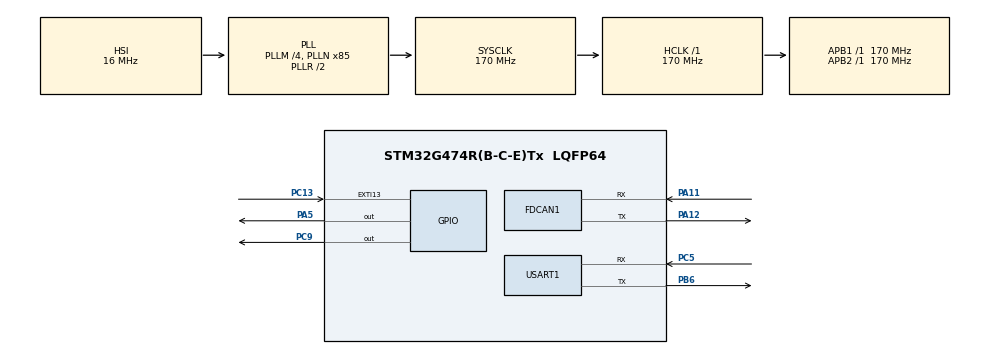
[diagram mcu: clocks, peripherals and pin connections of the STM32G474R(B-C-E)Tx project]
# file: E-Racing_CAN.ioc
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FDCAN1.CalculateBaudRateNominal=500000
FDCAN1.CalculateTimeBitNominal=2000
FDCAN1.CalculateTimeQuantumNominal=400.0
FDCAN1.NominalPrescaler=68
FDCAN1.NominalTimeSeg1=2
FDCAN1.NominalTimeSeg2=2
Mcu.Family=STM32G4
Mcu.Name=STM32G474R(B-C-E)Tx
Mcu.Package=LQFP64
NUCLEO-G474RE.BUTTON=1
NUCLEO-G474RE.LD2=true
NUCLEO-G474RE.VCP=true
NVIC.EXTI15_10_IRQn=true\:0\:0\:false\:false\:true\:true\:true\:true
NVIC.FDCAN1_IT0_IRQn=true\:0\:0\:false\:false\:true\:true\:true\:true
NVIC.FDCAN1_IT1_IRQn=true\:0\:0\:false\:false\:true\:true\:true\:true
NVIC.PriorityGroup=NVIC_PRIORITYGROUP_4
NVIC.TIM3_IRQn=true\:0\:0\:false\:false\:true\:true\:true\:true
PA11.GPIO_PuPd=GPIO_PULLUP
PA11.GPIO_Speed=GPIO_SPEED_FREQ_VERY_HIGH
PA11.Mode=FDCAN_Activate
PA11.Signal=FDCAN1_RX
PA12.Mode=FDCAN_Activate
PA12.Signal=FDCAN1_TX
PA13.GPIO_Label=T_SWDIO
PA13.Signal=SYS_JTMS-SWDIO
PA14.GPIO_Label=T_SWCLK
PA14.Signal=SYS_JTCK-SWCLK
PA2.Signal=LPUART1_TX
PA3.Signal=LPUART1_RX
PA5.Signal=GPIO_Output
PB3.GPIO_Label=T_SWO
PB3.Signal=SYS_JTDO-SWO
PB6.Mode=Asynchronous
PB6.Signal=USART1_TX
PC13.Signal=GPXTI13
PC14-OSC32_IN.GPIO_Label=RCC_OSC32_IN
PC14-OSC32_IN.Signal=RCC_OSC32_IN
PC15-OSC32_OUT.GPIO_Label=RCC_OSC32_OUT
PC15-OSC32_OUT.Signal=RCC_OSC32_OUT
PC5.Mode=Asynchronous
PC5.Signal=USART1_RX
PC9.GPIO_Speed=GPIO_SPEED_FREQ_HIGH
PC9.PinState=GPIO_PIN_RESET
PC9.Signal=GPIO_Output
PF0-OSC_IN.GPIO_Label=RCC_OSC_IN
PF0-OSC_IN.Signal=RCC_OSC_IN
PF1-OSC_OUT.GPIO_Label=RCC_OSC_OUT
PF1-OSC_OUT.Signal=RCC_OSC_OUT
ProjectManager.HeapSize=0x200
ProjectManager.StackSize=0x400
ProjectManager.TargetToolchain=STM32CubeIDE
RCC.ADC12Freq_Value=170000000
RCC.ADC345Freq_Value=170000000
RCC.AHBFreq_Value=170000000
RCC.APB1Freq_Value=170000000
RCC.APB1TimFreq_Value=170000000
RCC.APB2Freq_Value=170000000
RCC.APB2TimFreq_Value=170000000
RCC.CortexFreq_Value=170000000
RCC.EXTERNAL_CLOCK_VALUE=12288000
RCC.HCLKFreq_Value=170000000
RCC.HSE_VALUE=24000000
RCC.HSI48_VALUE=48000000
RCC.HSI_VALUE=16000000
RCC.LSE_VALUE=32768
RCC.PLLM=RCC_PLLM_DIV4
RCC.PLLN=85
RCC.RTCClockSelection=RCC_RTCCLKSOURCE_LSE
RCC.SYSCLKFreq_VALUE=170000000
RCC.SYSCLKSource=RCC_SYSCLKSOURCE_PLLCLK
RCC.USBFreq_Value=170000000
RCC.VCOOutputFreq_Value=340000000
USART1.VirtualMode-Asynchronous=VM_ASYNC
VP_NUCLEO-G474RE_VS_BSP_COMMON.Mode=COMMON
VP_SYS_VS_DBSignals.Mode=DisableDeadBatterySignals
VP_TIM3_VS_ClockSourceINT.Mode=Internal
board=NUCLEO-G474RE

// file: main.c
/* USER CODE BEGIN Header */
/**
  ******************************************************************************
  * @file           : main.c
  * @brief          : Main program body
  ******************************************************************************
  * @attention
  *
  * Copyright (c) 2025 STMicroelectronics.
  * All rights reserved.
  *
  * This software is licensed under terms that can be found in the LICENSE file
  * in the root directory of this software component.
  * If no LICENSE file comes with this software, it is provided AS-IS.
  *
  ******************************************************************************
  */
/* USER CODE END Header */
#include "main.h"

/* USER CODE BEGIN Includes */
#include <stdlib.h>
#include<string.h>
/* USER CODE END Includes */

COM_InitTypeDef BspCOMInit;
FDCAN_HandleTypeDef hfdcan1;

TIM_HandleTypeDef htim3;

UART_HandleTypeDef huart1;

void SystemClock_Config(void);
static void MX_GPIO_Init(void);
static void MX_FDCAN1_Init(void);
static void MX_TIM3_Init(void);
static void MX_USART1_UART_Init(void);

/* USER CODE BEGIN 0 */

void HAL_CAN_RxFifo0CallBack(FDCAN_HandleTypeDef *hcan, uint32_t RxFifo0ITs);
void HAL_TIM_PeriodElapsedCallback(TIM_HandleTypeDef *htim);
void delay(int delay);
FDCAN_RxHeaderTypeDef RxHeader;
uint8_t RxData[8];
volatile int datacheck = 0;
volatile int counter = 0;

/* USER CODE END 0 */

int main(void)
{

  /* MCU Configuration--------------------------------------------------------*/

  /* Reset of all peripherals, Initializes the Flash interface and the Systick. */
  HAL_Init();

  /* Configure the system clock */
  SystemClock_Config();

  /* Initialize all configured peripherals */
  MX_GPIO_Init();
  MX_FDCAN1_Init();
  MX_TIM3_Init();
  MX_USART1_UART_Init();

  /* Initialize led */
  BSP_LED_Init(LED_GREEN);

  /* Initialize USER push-button, will be used to trigger an interrupt each time it's pressed.*/
  BSP_PB_Init(BUTTON_USER, BUTTON_MODE_EXTI);

  /* Initialize COM1 port (115200, 8 bits (7-bit data + 1 stop bit), no parity */
  BspCOMInit.BaudRate   = 115200;
  BspCOMInit.WordLength = COM_WORDLENGTH_8B;
  BspCOMInit.StopBits   = COM_STOPBITS_1;
  BspCOMInit.Parity     = COM_PARITY_NONE;
  BspCOMInit.HwFlowCtl  = COM_HWCONTROL_NONE;
  if (BSP_COM_Init(COM1, &BspCOMInit) != BSP_ERROR_NONE)
  {
    Error_Handler();
  }

  /* Infinite loop */
  /* USER CODE BEGIN WHILE */

  /* This code tells the microcontroller to look for FDCAN signals and data. */
  HAL_FDCAN_ConfigGlobalFilter(&hfdcan1,
		  	  	  	  	  	  FDCAN_ACCEPT_IN_RX_FIFO0,
							  FDCAN_ACCEPT_IN_RX_FIFO0,
							  FDCAN_REJECT_REMOTE,
							  FDCAN_REJECT_REMOTE);

  /* This code ensures that FDCAN protocol starts correctly and throws an error if not. */
  if (HAL_FDCAN_Start(&hfdcan1) != HAL_OK) {
      Error_Handler();
  }

  /* This code activates the hardware responsible for calling the callback
   * function everytime the NEW_MESSAGE flag is updated in the hardware.*/
  if (HAL_FDCAN_ActivateNotification(&hfdcan1, FDCAN_IT_RX_FIFO0_NEW_MESSAGE, 0) != HAL_OK) {
  	  	  Error_Handler();
  }

  HAL_TIM_Base_Start_IT(&htim3);

  uint8_t tx_buff[12] = {0x00, 0x01, 0x08, 0x00, 0x00, 0x00, 0x00, 0x00, 0x00, 0x00, 0x00, 0x0A};

  while (1)
  {

	  HAL_UART_Transmit(&huart1, tx_buff, sizeof(tx_buff), 2000);
    /* USER CODE END WHILE */

  }
}

void SystemClock_Config(void)
{
  RCC_OscInitTypeDef RCC_OscInitStruct = {0};
  RCC_ClkInitTypeDef RCC_ClkInitStruct = {0};

  /** Configure the main internal regulator output voltage
  */
  HAL_PWREx_ControlVoltageScaling(PWR_REGULATOR_VOLTAGE_SCALE1_BOOST);

  /** Initializes the RCC Oscillators according to the specified parameters
  * in the RCC_OscInitTypeDef structure.
  */
  RCC_OscInitStruct.OscillatorType = RCC_OSCILLATORTYPE_HSI;
  RCC_OscInitStruct.HSIState = RCC_HSI_ON;
  RCC_OscInitStruct.HSICalibrationValue = RCC_HSICALIBRATION_DEFAULT;
  RCC_OscInitStruct.PLL.PLLState = RCC_PLL_ON;
  RCC_OscInitStruct.PLL.PLLSource = RCC_PLLSOURCE_HSI;
  RCC_OscInitStruct.PLL.PLLM = RCC_PLLM_DIV4;
  RCC_OscInitStruct.PLL.PLLN = 85;
  RCC_OscInitStruct.PLL.PLLP = RCC_PLLP_DIV2;
  RCC_OscInitStruct.PLL.PLLQ = RCC_PLLQ_DIV2;
  RCC_OscInitStruct.PLL.PLLR = RCC_PLLR_DIV2;
  if (HAL_RCC_OscConfig(&RCC_OscInitStruct) != HAL_OK)
  {
    Error_Handler();
  }

  /** Initializes the CPU, AHB and APB buses clocks
  */
  RCC_ClkInitStruct.ClockType = RCC_CLOCKTYPE_HCLK|RCC_CLOCKTYPE_SYSCLK
                              |RCC_CLOCKTYPE_PCLK1|RCC_CLOCKTYPE_PCLK2;
  RCC_ClkInitStruct.SYSCLKSource = RCC_SYSCLKSOURCE_PLLCLK;
  RCC_ClkInitStruct.AHBCLKDivider = RCC_SYSCLK_DIV1;
  RCC_ClkInitStruct.APB1CLKDivider = RCC_HCLK_DIV1;
  RCC_ClkInitStruct.APB2CLKDivider = RCC_HCLK_DIV1;

  if (HAL_RCC_ClockConfig(&RCC_ClkInitStruct, FLASH_LATENCY_4) != HAL_OK)
  {
    Error_Handler();
  }
}

static void MX_FDCAN1_Init(void)
{

  hfdcan1.Instance = FDCAN1;
  hfdcan1.Init.ClockDivider = FDCAN_CLOCK_DIV1;
  hfdcan1.Init.FrameFormat = FDCAN_FRAME_CLASSIC;
  hfdcan1.Init.Mode = FDCAN_MODE_NORMAL;
  hfdcan1.Init.AutoRetransmission = DISABLE;
  hfdcan1.Init.TransmitPause = DISABLE;
  hfdcan1.Init.ProtocolException = DISABLE;
  hfdcan1.Init.NominalPrescaler = 68;
  hfdcan1.Init.NominalSyncJumpWidth = 1;
  hfdcan1.Init.NominalTimeSeg1 = 2;
  hfdcan1.Init.NominalTimeSeg2 = 2;
  hfdcan1.Init.DataPrescaler = 1;
  hfdcan1.Init.DataSyncJumpWidth = 1;
  hfdcan1.Init.DataTimeSeg1 = 1;
  hfdcan1.Init.DataTimeSeg2 = 1;
  hfdcan1.Init.StdFiltersNbr = 0;
  hfdcan1.Init.ExtFiltersNbr = 0;
  hfdcan1.Init.TxFifoQueueMode = FDCAN_TX_FIFO_OPERATION;
  if (HAL_FDCAN_Init(&hfdcan1) != HAL_OK)
  {
    Error_Handler();
  }

}

static void MX_TIM3_Init(void)
{

  TIM_ClockConfigTypeDef sClockSourceConfig = {0};
  TIM_MasterConfigTypeDef sMasterConfig = {0};

  htim3.Instance = TIM3;
  htim3.Init.Prescaler = 0;
  htim3.Init.CounterMode = TIM_COUNTERMODE_UP;
  htim3.Init.Period = 65535;
  htim3.Init.ClockDivision = TIM_CLOCKDIVISION_DIV1;
  htim3.Init.AutoReloadPreload = TIM_AUTORELOAD_PRELOAD_DISABLE;
  if (HAL_TIM_Base_Init(&htim3) != HAL_OK)
  {
    Error_Handler();
  }
  sClockSourceConfig.ClockSource = TIM_CLOCKSOURCE_INTERNAL;
  if (HAL_TIM_ConfigClockSource(&htim3, &sClockSourceConfig) != HAL_OK)
  {
    Error_Handler();
  }
  sMasterConfig.MasterOutputTrigger = TIM_TRGO_RESET;
  sMasterConfig.MasterSlaveMode = TIM_MASTERSLAVEMODE_DISABLE;
  if (HAL_TIMEx_MasterConfigSynchronization(&htim3, &sMasterConfig) != HAL_OK)
  {
    Error_Handler();
  }

}

static void MX_USART1_UART_Init(void)
{

  /* USER CODE BEGIN USART1_Init 1 */
  /*
  If you regenerate the code remember to change UART baud rate to 460800
  */
  /* USER CODE END USART1_Init 1 */
  huart1.Instance = USART1;
  huart1.Init.BaudRate = 460800;
  huart1.Init.WordLength = UART_WORDLENGTH_8B;
  huart1.Init.StopBits = UART_STOPBITS_1;
  huart1.Init.Parity = UART_PARITY_NONE;
  huart1.Init.Mode = UART_MODE_TX_RX;
  huart1.Init.HwFlowCtl = UART_HWCONTROL_NONE;
  huart1.Init.OverSampling = UART_OVERSAMPLING_16;
  huart1.Init.OneBitSampling = UART_ONE_BIT_SAMPLE_DISABLE;
  huart1.Init.ClockPrescaler = UART_PRESCALER_DIV1;
  huart1.AdvancedInit.AdvFeatureInit = UART_ADVFEATURE_NO_INIT;
  if (HAL_UART_Init(&huart1) != HAL_OK)
  {
    Error_Handler();
  }
  if (HAL_UARTEx_SetTxFifoThreshold(&huart1, UART_TXFIFO_THRESHOLD_1_8) != HAL_OK)
  {
    Error_Handler();
  }
  if (HAL_UARTEx_SetRxFifoThreshold(&huart1, UART_RXFIFO_THRESHOLD_1_8) != HAL_OK)
  {
    Error_Handler();
  }
  if (HAL_UARTEx_DisableFifoMode(&huart1) != HAL_OK)
  {
    Error_Handler();
  }

}

static void MX_GPIO_Init(void)
{
  GPIO_InitTypeDef GPIO_InitStruct = {0};

  /* GPIO Ports Clock Enable */
  __HAL_RCC_GPIOC_CLK_ENABLE();
  __HAL_RCC_GPIOF_CLK_ENABLE();
  __HAL_RCC_GPIOA_CLK_ENABLE();
  __HAL_RCC_GPIOB_CLK_ENABLE();

  /*Configure GPIO pin Output Level */
  HAL_GPIO_WritePin(GPIOC, GPIO_PIN_9, GPIO_PIN_RESET);

  /*Configure GPIO pin : PC9 */
  GPIO_InitStruct.Pin = GPIO_PIN_9;
  GPIO_InitStruct.Mode = GPIO_MODE_OUTPUT_PP;
  GPIO_InitStruct.Pull = GPIO_NOPULL;
  GPIO_InitStruct.Speed = GPIO_SPEED_FREQ_HIGH;
  HAL_GPIO_Init(GPIOC, &GPIO_InitStruct);

}

/* USER CODE BEGIN 4 */

void HAL_FDCAN_RxFifo0Callback(FDCAN_HandleTypeDef *hcan, uint32_t RxFifo0ITs) {

	if(HAL_FDCAN_GetRxMessage(hcan, FDCAN_RX_FIFO0, &RxHeader, RxData) != HAL_OK) {
		Error_Handler();
	}

	if((RxHeader.IdType == FDCAN_STANDARD_ID)) {
		datacheck = 1;
	}
}

/* Code for implementing a delay using TIM3 Global Interrupt*/
void HAL_TIM_PeriodElapsedCallback(TIM_HandleTypeDef *htim) {
	if(htim->Instance == TIM3) {
		counter++;
	}
}

void delay(int delay) {
	int delay_time = counter + delay;
	while(counter < delay_time) {}
}

uint8_t* create_CAN_DF(FDCAN_HandleTypeDef *hcan) {

	if(HAL_FDCAN_GetRxMessage(hcan, FDCAN_RX_FIFO0, &RxHeader, RxData) != HAL_OK) {
			Error_Handler();
	}

	uint8_t* data = malloc(12);
	uint32_t id = RxHeader.Identifier;

	memcpy(data, &id, 2);

	data[2] = RxHeader.DataLength;

	memcpy(&data[3], RxData, 8);

	return data;

}

/* USER CODE END 4 */

void Error_Handler(void)
{
  __disable_irq();
  while (1)
  {
  }
}
